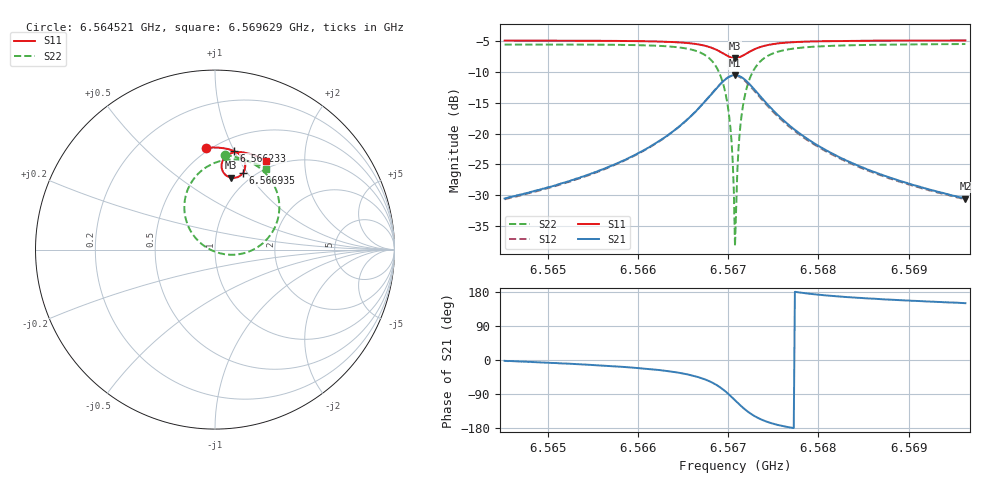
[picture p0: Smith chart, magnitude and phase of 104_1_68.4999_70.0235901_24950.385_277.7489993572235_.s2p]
#  HZ  S  RI  R  50.00
! Rohde & Schwarz Vector Network Analyzer
! Rohde-Schwarz,ZNB20-2Port,1311601062101988,3.16
! Created: UTC 3/20/2024, 4:53:10 PM
! freq[Hz]  re:S11  im:S11  re:S21  im:S21  re:S12  im:S12  re:S22  im:S22
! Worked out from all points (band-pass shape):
!   401 points, 6.564521 GHz to 6.569629 GHz, reference 50 ohm
!   highest |S21| = -10.49 dB at 6.567075 GHz (marker M1); lowest = -30.5 dB at 6.569629 GHz (marker M2)
!   |S21| within 3 dB of the highest: 6.56682 GHz to 6.567331 GHz (510.8 kHz wide, 0.00778 % of centre)
!   lowest |S11| = -7.7 dB at 6.567075 GHz (marker M3), VSWR 2.39, Z = 41.9 + j40.4 ohm
!   |S11| at or under -10 dB: nowhere
!   |S22| runs from -38.3 to -5.4 dB; largest |S21 - S12| = 0.015
!   S11 on the Smith chart (normalised r, x): 6.564521 GHz: 0.47, +0.80; 6.566233 GHz: 0.62, +1.00; 6.566935 GHz: 0.89, +0.95; 6.569629 GHz: 0.89, +1.31
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6.5645214e9  -0.0494 0.5674  0.0298 -0.00111  0.0292 -0.00161  0.053 0.5261
6.565377e9  0.0217 0.5676  0.0438 -0.00904  0.043 -0.00962  0.1372 0.5105
6.5662326e9  0.1045 0.5497  0.0778 -0.039  0.0767 -0.0398  0.2581 0.4475
6.5667179e9  0.1627 0.4962  0.1143 -0.1315  0.1116 -0.1341  0.3568 0.2669
6.5668456e9  0.1681 0.4588  0.1029 -0.1974  0.0976 -0.2014  0.3406 0.1409
6.566935e9  0.1546 0.4253  0.0618 -0.2547  0.0527 -0.2581  0.2652 0.0341
6.5669733e9  0.1412 0.4123  0.0308 -0.2759  0.0195 -0.2777  0.2069 -0.00341
6.5670116e9  0.1233 0.403  -0.00844 -0.2898  -0.0214 -0.2891  0.1345 -0.0257
6.5670371e9  0.1095 0.3997  -0.0378 -0.2931  -0.0513 -0.2901  0.0814 -0.0287
6.5670499e9  0.1023 0.3995  -0.0531 -0.2926  -0.0665 -0.2884  0.0542 -0.0259
6.5670627e9  0.0949 0.3999  -0.0681 -0.2905  -0.0815 -0.2851  0.0273 -0.0204
6.5670754e9  0.0877 0.401  -0.0833 -0.2871  -0.0962 -0.2804  0.00119 -0.0122
6.5670882e9  0.0805 0.4031  -0.0977 -0.2819  -0.1102 -0.2742  -0.0241 -0.00127
6.567101e9  0.0739 0.4059  -0.1116 -0.2755  -0.1235 -0.2667  -0.0476 0.012
6.5671265e9  0.0616 0.4136  -0.1367 -0.259  -0.1469 -0.2484  -0.0894 0.0446
6.5671521e9  0.0517 0.4233  -0.1575 -0.239  -0.1657 -0.227  -0.1225 0.0829
6.5672031e9  0.0394 0.446  -0.1844 -0.1935  -0.1884 -0.1809  -0.1616 0.1663
6.567267e9  0.0368 0.4737  -0.1942 -0.1393  -0.1944 -0.128  -0.1695 0.2622
6.5675096e9  0.0752 0.5301  -0.1489 -0.0292  -0.1455 -0.0246  -0.0653 0.4475
6.567931e9  0.1382 0.5435  -0.0851 0.00888  -0.083 0.0103  0.0761 0.5016
6.5687866e9  0.2207 0.5249  -0.0413 0.0155  -0.0403 0.0159  0.2079 0.4857
6.5696294e9  0.2841 0.4954  -0.0257 0.0149  -0.0252 0.0149  0.285 0.4518
